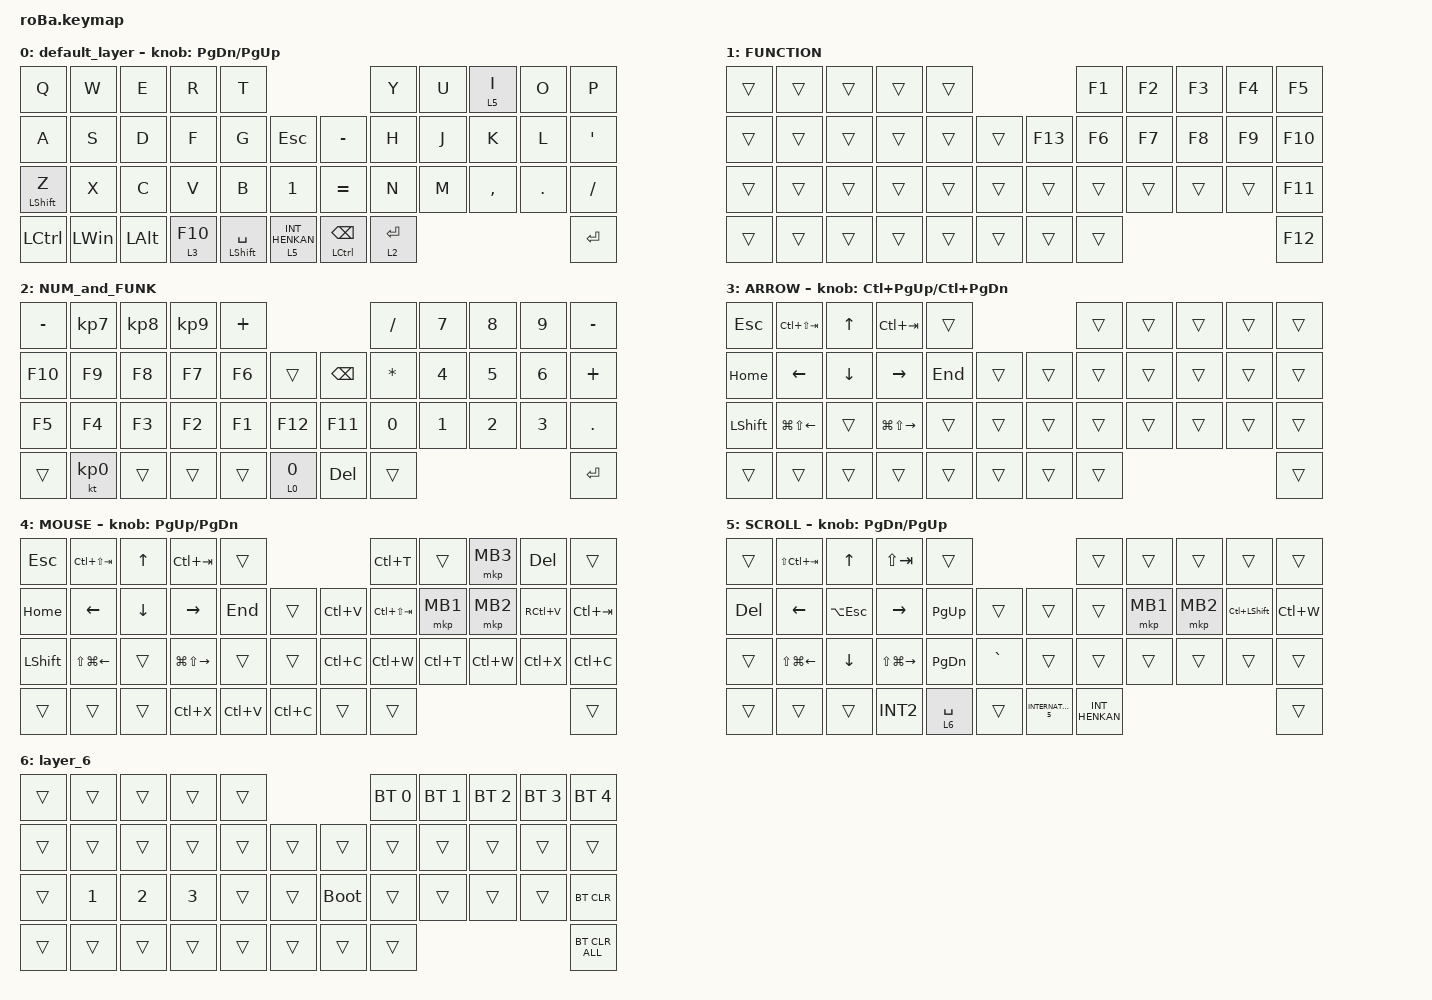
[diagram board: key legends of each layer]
#include <behaviors.dtsi>
#include <dt-bindings/zmk/bt.h>
#include <dt-bindings/zmk/keys.h>
#include <dt-bindings/zmk/pointing.h>

&mt {
    flavor = "balanced";
    quick-tap-ms = <0>;
};

&trackball {
    automouse-layer = <4>;
    scroll-layers = <5>;

    // arrows {
    //     layers = <3>;
    //     bindings =
    //         <&kp RIGHT_ARROW>,
    //         <&kp LEFT_ARROW>,
    //         <&kp UP_ARROW>,
    //         <&kp DOWN_ARROW>;
    //     tick = <10>;
    //     wait-ms = <5>;
    //     tap-ms = <5>;
    // };
};

/ {
    combos {
        compatible = "zmk,combos";

        tab {
            bindings = <&kp TAB>;
            key-positions = <11 12>;
        };

        shift_tab {
            bindings = <&kp LS(TAB)>;
            key-positions = <12 13>;
        };

        muhennkann {
            bindings = <&to_layer_0 INT_MUHENKAN>;
            key-positions = <11 10>;
        };

        double_quotation {
            bindings = <&kp DOUBLE_QUOTES>;
            key-positions = <20 21>;
        };

        eq {
            bindings = <&kp EQUAL>;
            key-positions = <24 25>;
        };
    };

    macros {
        to_layer_0: to_layer_0 {
            compatible = "zmk,behavior-macro-one-param";
            #binding-cells = <1>;
            bindings = <&to 0 &macro_param_1to1 &kp MACRO_PLACEHOLDER>;
            label = "TO_LAYER_0";
        };

        to_layer_4: to_Layr_4j {
            compatible = "zmk,behavior-macro";
            #binding-cells = <0>;
            bindings = <&to 4>;
            label = "TO_LAYR_4J";
        };
    };

    behaviors {
        lt_to_layer_0: lt_to_layer_0 {
            compatible = "zmk,behavior-hold-tap";
            label = "LAYER_TAP_TO_0";
            bindings = <&mo>, <&to_layer_0>;

            #binding-cells = <2>;
            tapping-term-ms = <200>;
        };
    };

    keymap {
        compatible = "zmk,keymap";

        default_layer {
            bindings = <
&kp Q             &kp W         &kp E         &kp R                 &kp T                                                            &kp Y        &kp U  &lt 5 I    &kp O    &kp P
&kp A             &kp S         &kp D         &kp F                 &kp G                 &kp ESCAPE            &kp MINUS            &kp H        &kp J  &kp K      &kp L    &kp SQT
&mt LEFT_SHIFT Z  &kp X         &kp C         &kp V                 &kp B                 &kp NUMBER_1          &kp EQUAL            &kp N        &kp M  &kp COMMA  &kp DOT  &kp SLASH
&kp LCTRL         &kp LEFT_WIN  &kp LEFT_ALT  &lt_to_layer_0 3 F10  &mt LEFT_SHIFT SPACE  &lt 5 INT_HENKAN      &mt LCTRL BACKSPACE  &lt 2 ENTER                             &kp ENTER
            >;

            sensor-bindings = <&inc_dec_kp PAGE_DOWN PAGE_UP>;
        };

        FUNCTION {
            bindings = <
&trans  &trans  &trans  &trans  &trans                       &kp F1  &kp F2  &kp F3  &kp F4  &kp F5
&trans  &trans  &trans  &trans  &trans  &trans      &kp F13  &kp F6  &kp F7  &kp F8  &kp F9  &kp F10
&trans  &trans  &trans  &trans  &trans  &trans      &trans   &trans  &trans  &trans  &trans  &kp F11
&trans  &trans  &trans  &trans  &trans  &trans      &trans   &trans                          &kp F12
            >;
        };

        NUM_and_FUNK {
            bindings = <
&kp MINUS  &kp KP_NUMBER_7  &kp KP_NUMBER_8  &kp KP_NUMBER_9  &kp PLUS                                     &kp SLASH     &kp N7        &kp N8        &kp N9        &kp MINUS
&kp F10    &kp F9           &kp F8           &kp F7           &kp F6    &trans              &kp BACKSPACE  &kp ASTERISK  &kp NUMBER_4  &kp N5        &kp NUMBER_6  &kp PLUS
&kp F5     &kp F4           &kp F3           &kp F2           &kp F1    &kp F12             &kp F11        &kp N0        &kp NUMBER_1  &kp NUMBER_2  &kp NUMBER_3  &kp PERIOD
&trans     &kt KP_NUMBER_0  &trans           &trans           &trans    &lt 0 NUMBER_0      &kp DEL        &trans                                                  &kp ENTER
            >;
        };

        ARROW {
            bindings = <
&kp ESCAPE      &kp LC(LS(TAB))         &kp UP_ARROW    &kp LC(TAB)              &trans                       &trans  &trans  &trans  &trans  &trans
&kp HOME        &kp LEFT_ARROW          &kp DOWN_ARROW  &kp RIGHT_ARROW          &kp END  &trans      &trans  &trans  &trans  &trans  &trans  &trans
&kp LEFT_SHIFT  &kp LG(LS(LEFT_ARROW))  &trans          &kp LG(LS(RIGHT_ARROW))  &trans   &trans      &trans  &trans  &trans  &trans  &trans  &trans
&trans          &trans                  &trans          &trans                   &trans   &trans      &trans  &trans                          &trans
            >;

            sensor-bindings = <&inc_dec_kp LC(PAGE_UP) LC(PAGE_DOWN)>;
        };

        MOUSE {
            bindings = <
&kp ESCAPE      &kp LC(LS(TAB))         &kp UP_ARROW    &kp LC(TAB)              &trans                               &kp LC(T)        &trans     &mkp MB3   &kp DEL    &trans
&kp HOME        &kp LEFT_ARROW          &kp DOWN_ARROW  &kp RIGHT_ARROW          &kp END    &trans         &kp LC(V)  &kp LC(LS(TAB))  &mkp MB1   &mkp MB2   &kp RC(V)  &kp LC(TAB)
&kp LEFT_SHIFT  &kp LS(LG(LEFT_ARROW))  &trans          &kp LG(LS(RIGHT_ARROW))  &trans     &trans         &kp LC(C)  &kp LC(W)        &kp LC(T)  &kp LC(W)  &kp LC(X)  &kp LC(C)
&trans          &trans                  &trans          &kp LC(X)                &kp LC(V)  &kp LC(C)      &trans     &trans                                            &trans
            >;

            sensor-bindings = <&inc_dec_kp PG_UP PG_DN>;
        };

        SCROLL {
            bindings = <
&trans      &kp LS(LC(TAB))         &kp UP_ARROW    &kp LS(TAB)              &trans                                             &trans          &trans    &trans    &trans              &trans
&kp DELETE  &kp LEFT_ARROW          &kp LA(ESCAPE)  &kp RIGHT_ARROW          &kp PAGE_UP    &trans         &trans               &trans          &mkp MB1  &mkp MB2  &kp LC(LEFT_SHIFT)  &kp LC(W)
&trans      &kp LS(LG(LEFT_ARROW))  &kp DOWN        &kp LS(LG(RIGHT_ARROW))  &kp PAGE_DOWN  &kp GRAVE      &trans               &trans          &trans    &trans    &trans              &trans
&trans      &trans                  &trans          &kp INT2                 &lt 6 SPACE    &trans         &kp INTERNATIONAL_5  &kp INT_HENKAN                                          &trans
            >;

            sensor-bindings = <&inc_dec_kp PAGE_DOWN PAGE_UP>;
        };

        layer_6 {
            bindings = <
&trans  &trans        &trans        &trans        &trans                           &bt BT_SEL 0  &bt BT_SEL 1  &bt BT_SEL 2  &bt BT_SEL 3  &bt BT_SEL 4
&trans  &trans        &trans        &trans        &trans  &trans      &trans       &trans        &trans        &trans        &trans        &trans
&trans  &kp NUMBER_1  &kp NUMBER_2  &kp NUMBER_3  &trans  &trans      &bootloader  &trans        &trans        &trans        &trans        &bt BT_CLR
&trans  &trans        &trans        &trans        &trans  &trans      &trans       &trans                                                  &bt BT_CLR_ALL
            >;
        };
    };
};
